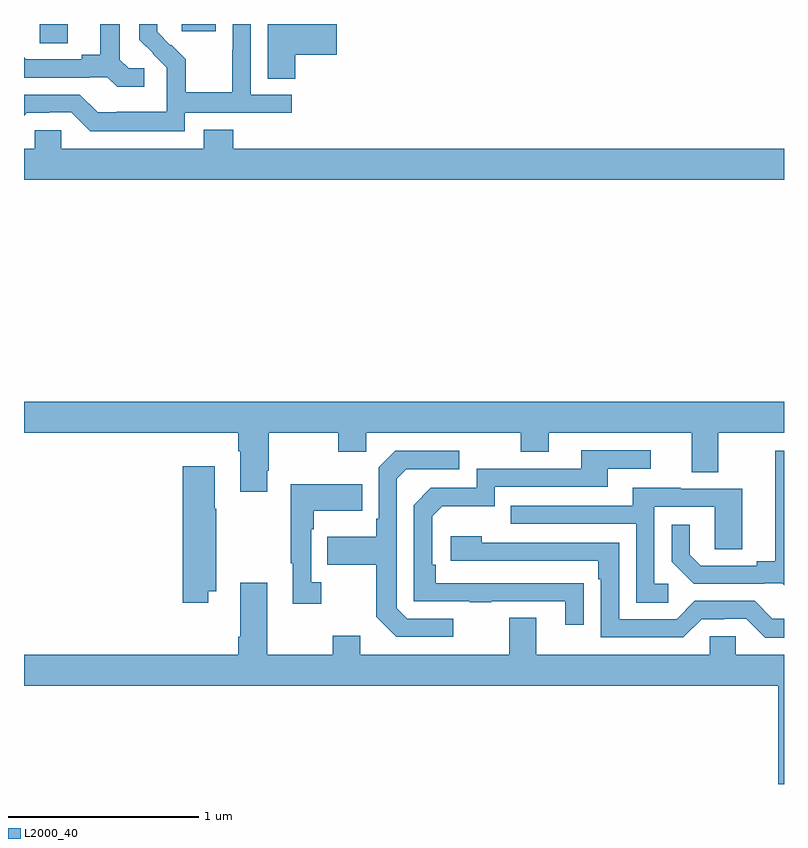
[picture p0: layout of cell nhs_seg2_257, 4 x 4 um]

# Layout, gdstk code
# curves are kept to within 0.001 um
import gdstk
lib = gdstk.Library(unit=1e-6, precision=1e-09)
def R(c, l, rs):  # rectangles x0, y0, x1, y1
    for r in rs: c.add(gdstk.rectangle(r[:2], r[2:], *l))
def P(c, l, *ps):  # polygons
    for p in ps: c.add(gdstk.Polygon(p, *l))
L2000_40 = (2000, 40)

nhs_seg2_257 = lib.new_cell('nhs_seg2_257')
R(nhs_seg2_257, L2000_40, [(123.084,637.699,123.229,637.8), (123.83,637.761,124.009,637.8)])
P(nhs_seg2_257, L2000_40, [(123.846,637.332),(124.408,637.332),(124.408,637.428),(124.194,637.428),(124.194,637.8),(124.098,637.8),(124.098,637.664),(124.096,637.664),(124.096,637.441),(123.851,637.441),(123.851,637.615),(123.774,637.692),(123.771,637.689),(123.701,637.76),(123.701,637.8),(123.606,637.8),(123.606,637.718),(123.752,637.57),(123.752,637.473),(123.75,637.473),(123.75,637.339),(123.487,637.339),(123.487,637.335),(123.387,637.335),(123.294,637.428),(123,637.428),(123,637.317),(123.015,637.332),(123.134,637.332),(123.134,637.335),(123.249,637.335),(123.349,637.235),(123.846,637.235)],
  [(124.427,637.637),(124.645,637.637),(124.645,637.8),(124.283,637.8),(124.283,637.513),(124.427,637.513)],
  [(123.634,637.566),(123.552,637.566),(123.505,637.613),(123.505,637.8),(123.401,637.8),(123.401,637.637),(123.305,637.637),(123.305,637.614),(123.01,637.614),(123,637.624),(123,637.518),(123.344,637.518),(123.344,637.521),(123.438,637.521),(123.49,637.469),(123.634,637.469)],
  [(127,637.144),(124.1,637.144),(124.1,637.243),(123.947,637.243),(123.947,637.144),(123.195,637.144),(123.195,637.242),(123.057,637.242),(123.057,637.144),(123,637.144),(123,636.98),(127,636.98)],
  [(124.279,635.449),(124.287,635.449),(124.287,635.648),(124.654,635.648),(124.654,635.549),(124.8,635.549),(124.8,635.648),(125.614,635.648),(125.614,635.549),(125.761,635.549),(125.761,635.648),(126.515,635.648),(126.515,635.44),(126.655,635.44),(126.655,635.648),(127,635.648),(127,635.812),(123,635.812),(123,635.648),(124.127,635.648),(124.127,635.552),(124.139,635.552),(124.139,635.337),(124.279,635.337)],
  [(125.945,634.856),(125.168,634.857),(125.168,634.954),(125.148,634.954),(125.148,635.208),(125.201,635.261),(125.478,635.261),(125.478,635.364),(126.073,635.364),(126.073,635.46),(126.298,635.46),(126.298,635.556),(125.933,635.556),(125.933,635.46),(125.382,635.46),(125.382,635.358),(125.142,635.358),(125.052,635.268),(125.052,634.761),(125.347,634.761),(125.347,634.756),(125.459,634.756),(125.459,634.761),(125.849,634.761),(125.849,634.638),(125.945,634.638)],
  [(127,635.553),(126.953,635.553),(126.953,634.973),(126.857,634.973),(126.857,634.95),(126.562,634.95),(126.505,635.007),(126.505,635.164),(126.408,635.164),(126.408,634.97),(126.524,634.854),(126.896,634.854),(126.896,634.857),(126.99,634.857),(127,634.847)],
  [(125.26,634.671),(125.016,634.671),(124.962,634.725),(124.962,635.406),(125.013,635.457),(125.29,635.457),(125.29,635.553),(124.953,635.553),(124.866,635.466),(124.866,635.197),(124.854,635.197),(124.854,635.101),(124.597,635.101),(124.597,634.954),(124.854,634.954),(124.854,634.681),(124.959,634.575),(125.26,634.575)],
  [(123.97,634.814),(124.011,634.814),(124.011,635.249),(124.003,635.249),(124.003,635.473),(123.836,635.473),(123.836,634.755),(123.97,634.755)],
  [(124.564,634.862),(124.512,634.862),(124.512,635.141),(124.525,635.141),(124.525,635.237),(124.781,635.237),(124.781,635.377),(124.404,635.377),(124.404,634.961),(124.415,634.961),(124.415,634.749),(124.564,634.749)],
  [(126.391,634.854),(126.318,634.854),(126.318,635.259),(126.636,635.259),(126.636,635.035),(126.781,635.035),(126.781,635.355),(126.457,635.355),(126.457,635.359),(126.203,635.359),(126.203,635.265),(125.563,635.265),(125.563,635.169),(126.222,635.169),(126.222,634.753),(126.391,634.753)],
  [(127,634.671),(126.939,634.671),(126.846,634.764),(126.531,634.764),(126.435,634.668),(126.132,634.668),(126.132,635.07),(125.408,635.07),(125.408,635.104),(125.247,635.104),(125.247,634.974),(126.023,634.974),(126.023,634.877),(126.036,634.877),(126.036,634.572),(126.471,634.572),(126.567,634.668),(126.686,634.668),(126.686,634.671),(126.801,634.671),(126.901,634.571),(127,634.571)],
  [(127,634.48),(126.747,634.48),(126.747,634.578),(126.609,634.578),(126.609,634.48),(125.695,634.48),(125.695,634.675),(125.555,634.675),(125.555,634.48),(124.771,634.48),(124.771,634.579),(124.624,634.579),(124.624,634.48),(124.279,634.48),(124.279,634.858),(124.139,634.858),(124.139,634.576),(124.127,634.576),(124.127,634.48),(123,634.48),(123,634.316),(126.971,634.316),(126.971,633.8),(127,633.8)])

lib.write_gds('nhs_seg2_257.gds')
